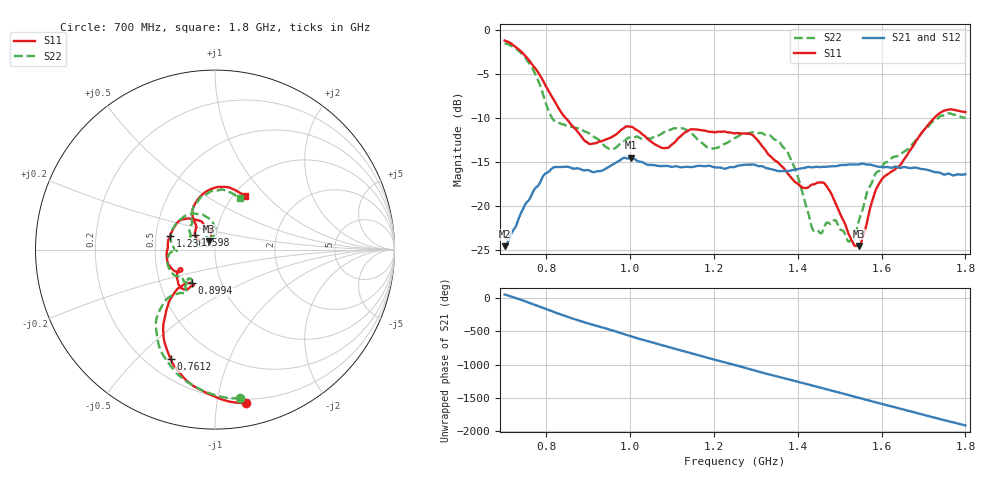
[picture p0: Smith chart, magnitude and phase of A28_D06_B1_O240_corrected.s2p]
! Created with skrf 1.9.0 (http://scikit-rf.org).
# Hz S RI R 50.0
!freq ReS11 ImS11 ReS21 ImS21 ReS12 ImS12 ReS22 ImS22
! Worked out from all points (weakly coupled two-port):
!   1601 points, 700 MHz to 1.8 GHz, reference 50 ohm
!   highest |S21| = -14.49 dB at 1.002 GHz (marker M1); lowest = -24.5 dB at 700 MHz (marker M2)
!   lowest |S11| = -24.5 dB at 1.546 GHz (marker M3), VSWR 1.13, Z = 46.4 + j4.47 ohm
!   |S11| at or under -10 dB: 846.4 MHz to 1.725 GHz (878.8 MHz wide, 68.3 % of centre)
!   |S22| runs from -24.0 to -1.5 dB; largest |S21 - S12| = 0.0034
!   S11 on the Smith chart (normalised r, x): 700 MHz: 0.17, -1.21; 761.2 MHz: 0.29, -0.63; 899.4 MHz: 0.72, -0.28; 1.236 GHz: 0.59, +0.10; 1.598 GHz: 0.79, +0.13; 1.8 GHz: 1.12, +0.76
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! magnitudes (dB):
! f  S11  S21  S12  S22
! 700 MHz  -1.2  -24.5  -24.3  -1.5
! 761.2 MHz  -3.6  -19.1  -18.9  -3.9
! 815.5 MHz  -7.8  -15.6  -15.7  -10.1
! 883.6 MHz  -12.1  -15.8  -15.7  -11.3
! 899.4 MHz  -12.8  -15.9  -15.9  -11.7
! 953 MHz  -12.2  -15.4  -15.4  -13.5
! 1.002 GHz  -11.0  -14.5  -14.6  -12.3
! 1.067 GHz  -13.2  -15.4  -15.4  -12.0
! 1.145 GHz  -11.3  -15.5  -15.6  -11.7
! 1.19 GHz  -11.6  -15.4  -15.5  -13.4
! 1.236 GHz  -11.6  -15.6  -15.7  -12.7
! 1.25 GHz  -11.7  -15.5  -15.4  -12.2
! 1.357 GHz  -15.2  -16.0  -16.0  -12.7
! 1.394 GHz  -17.3  -15.8  -15.8  -15.9
! 1.434 GHz  -17.5  -15.6  -15.5  -22.4
! 1.469 GHz  -17.7  -15.5  -15.5  -21.9
! 1.524 GHz  -23.4  -15.2  -15.2  -24.0
! 1.546 GHz  -24.5  -15.2  -15.2  -21.5
! 1.598 GHz  -17.1  -15.5  -15.5  -15.8
! 1.617 GHz  -16.3  -15.6  -15.5  -14.9
! 1.735 GHz  -9.6  -16.1  -16.2  -10.0
! 1.8 GHz  -9.3  -16.4  -16.4  -10.0
